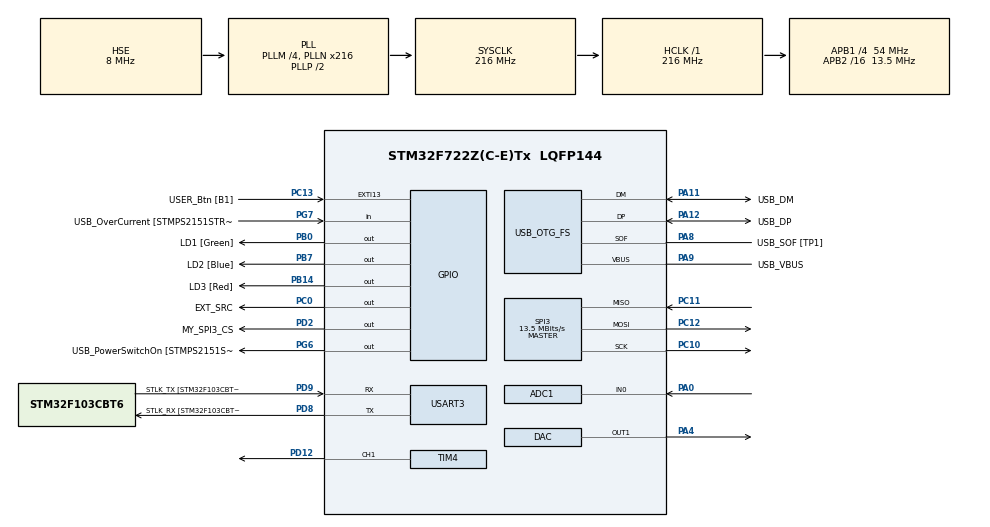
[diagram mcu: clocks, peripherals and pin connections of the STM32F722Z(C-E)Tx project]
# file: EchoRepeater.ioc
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ADC1.Channel-5\#ChannelRegularConversion=ADC_CHANNEL_0
ADC1.ClockPrescaler=ADC_CLOCK_SYNC_PCLK_DIV2
ADC1.ContinuousConvMode=DISABLE
ADC1.DMAContinuousRequests=ENABLE
ADC1.DataAlign=ADC_DATAALIGN_RIGHT
ADC1.DiscontinuousConvMode=DISABLE
ADC1.EOCSelection=ADC_EOC_SEQ_CONV
ADC1.ExternalTrigConv=ADC_EXTERNALTRIGCONV_T4_TRGO
ADC1.ExternalTrigConvEdge=ADC_EXTERNALTRIGCONVEDGE_RISING
ADC1.InjNumberOfConversion=0
ADC1.NbrOfConversion=1
ADC1.NbrOfConversionFlag=1
ADC1.Rank-5\#ChannelRegularConversion=1
ADC1.SamplingTime-5\#ChannelRegularConversion=ADC_SAMPLETIME_3CYCLES
ADC1.ScanConvMode=ADC_SCAN_DISABLE
ADC1.master=1
DAC.DAC_Trigger=DAC_TRIGGER_T4_TRGO
Dma.ADC1.0.Direction=DMA_PERIPH_TO_MEMORY
Dma.ADC1.0.FIFOMode=DMA_FIFOMODE_DISABLE
Dma.ADC1.0.Instance=DMA2_Stream0
Dma.ADC1.0.MemDataAlignment=DMA_MDATAALIGN_HALFWORD
Dma.ADC1.0.MemInc=DMA_MINC_ENABLE
Dma.ADC1.0.Mode=DMA_CIRCULAR
Dma.ADC1.0.PeriphDataAlignment=DMA_PDATAALIGN_HALFWORD
Dma.ADC1.0.PeriphInc=DMA_PINC_DISABLE
Dma.ADC1.0.Priority=DMA_PRIORITY_MEDIUM
Dma.DAC1.1.Direction=DMA_MEMORY_TO_PERIPH
Dma.DAC1.1.FIFOMode=DMA_FIFOMODE_DISABLE
Dma.DAC1.1.Instance=DMA1_Stream5
Dma.DAC1.1.MemDataAlignment=DMA_MDATAALIGN_HALFWORD
Dma.DAC1.1.MemInc=DMA_MINC_ENABLE
Dma.DAC1.1.Mode=DMA_CIRCULAR
Dma.DAC1.1.PeriphDataAlignment=DMA_PDATAALIGN_HALFWORD
Dma.DAC1.1.PeriphInc=DMA_PINC_DISABLE
Dma.DAC1.1.Priority=DMA_PRIORITY_MEDIUM
Dma.Request0=ADC1
Dma.Request1=DAC1
Mcu.Family=STM32F7
Mcu.Name=STM32F722Z(C-E)Tx
Mcu.Package=LQFP144
NVIC.DMA1_Stream5_IRQn=true\:2\:0\:true\:false\:true\:false\:true\:true
NVIC.DMA2_Stream0_IRQn=true\:1\:0\:true\:false\:true\:false\:true\:true
NVIC.PriorityGroup=NVIC_PRIORITYGROUP_4
NVIC.TIM4_IRQn=true\:0\:0\:false\:false\:true\:true\:true\:true
PA0-WKUP.Signal=ADCx_IN0
PA1.Signal=ADCx_IN1
PA10.GPIO_Label=USB_ID
PA10.Signal=USB_OTG_FS_ID
PA11.GPIO_Label=USB_DM
PA11.Mode=Device_Only
PA11.Signal=USB_OTG_FS_DM
PA12.GPIO_Label=USB_DP
PA12.Mode=Device_Only
PA12.Signal=USB_OTG_FS_DP
PA13.GPIO_Label=TMS
PA13.Mode=Serial_Wire
PA13.Signal=SYS_JTMS-SWDIO
PA14.GPIO_Label=TCK
PA14.Mode=Serial_Wire
PA14.Signal=SYS_JTCK-SWCLK
PA4.Signal=COMP_DAC1_group
PA5.Signal=COMP_DAC2_group
PA8.GPIO_Label=USB_SOF [TP1]
PA8.Mode=Activate_SOF_FS
PA8.Signal=USB_OTG_FS_SOF
PA9.GPIO_Label=USB_VBUS
PA9.Mode=Activate_VBUS
PA9.Signal=USB_OTG_FS_VBUS
PB0.GPIO_Label=LD1 [Green]
PB0.Signal=GPIO_Output
PB14.GPIO_Label=LD3 [Red]
PB14.Signal=GPIO_Output
PB3.GPIO_Label=SWO
PB3.Signal=SYS_JTDO-SWO
PB7.GPIO_Label=LD2 [Blue]
PB7.Signal=GPIO_Output
PC0.GPIO_Label=EXT_SRC
PC0.GPIO_Speed=GPIO_SPEED_FREQ_MEDIUM
PC0.Signal=GPIO_Output
PC10.GPIO_PuPd=GPIO_PULLUP
PC10.Mode=Full_Duplex_Master
PC10.Signal=SPI3_SCK
PC11.GPIO_PuPd=GPIO_PULLUP
PC11.Mode=Full_Duplex_Master
PC11.Signal=SPI3_MISO
PC12.GPIO_PuPd=GPIO_PULLUP
PC12.Mode=Full_Duplex_Master
PC12.Signal=SPI3_MOSI
PC13.GPIO_Label=USER_Btn [B1]
PC13.Signal=GPXTI13
PC14-OSC32_IN.Mode=LSE-External-Oscillator
PC14-OSC32_IN.Signal=RCC_OSC32_IN
PC15-OSC32_OUT.Mode=LSE-External-Oscillator
PC15-OSC32_OUT.Signal=RCC_OSC32_OUT
PD12.Signal=S_TIM4_CH1
PD2.GPIO_Label=MY_SPI3_CS
PD2.GPIO_PuPd=GPIO_PULLUP
PD2.GPIO_Speed=GPIO_SPEED_FREQ_HIGH
PD2.PinState=GPIO_PIN_SET
PD2.Signal=GPIO_Output
PD8.GPIO_Label=STLK_RX [STM32F103CBT6_PA3]
PD8.Mode=Asynchronous
PD8.Signal=USART3_TX
PD9.GPIO_Label=STLK_TX [STM32F103CBT6_PA2]
PD9.Mode=Asynchronous
PD9.Signal=USART3_RX
PG6.GPIO_Label=USB_PowerSwitchOn [STMPS2151STR_EN]
PG6.Signal=GPIO_Output
PG7.GPIO_Label=USB_OverCurrent [STMPS2151STR_FAULT]
PG7.Signal=GPIO_Input
PH0-OSC_IN.GPIO_Label=MCO
PH0-OSC_IN.Mode=HSE-External-Clock-Source
PH0-OSC_IN.Signal=RCC_OSC_IN
PH1-OSC_OUT.Mode=HSE-External-Clock-Source
PH1-OSC_OUT.Signal=RCC_OSC_OUT
ProjectManager.HeapSize=0x200
ProjectManager.StackSize=0x400
ProjectManager.TargetToolchain=STM32CubeIDE
RCC.48MHZClocksFreq_Value=24000000
RCC.AHBFreq_Value=216000000
RCC.APB1CLKDivider=RCC_HCLK_DIV4
RCC.APB1Freq_Value=54000000
RCC.APB1TimFreq_Value=108000000
RCC.APB2CLKDivider=RCC_HCLK_DIV16
RCC.APB2Freq_Value=13500000
RCC.APB2TimFreq_Value=27000000
RCC.CortexFreq_Value=216000000
RCC.HCLKFreq_Value=216000000
RCC.HSE_VALUE=8000000
RCC.HSI_VALUE=16000000
RCC.PLLM=4
RCC.PLLMUL=RCC_PLL_MUL9
RCC.PLLN=216
RCC.PLLQ=9
RCC.PRESCALERUSB=RCC_USBCLKSOURCE_PLL_DIV1_5
RCC.SYSCLKFreq_VALUE=216000000
RCC.SYSCLKSource=RCC_SYSCLKSOURCE_PLLCLK
RCC.SYSCLKSourceVirtual=RCC_SYSCLKSOURCE_PLLCLK
RCC.USBFreq_Value=48000000
RCC.VCOOutputFreq_Value=432000000
SH.ADCx_IN0.0=ADC3_IN0
SH.ADCx_IN0.1=ADC1_IN0,IN0
SH.ADCx_IN1.0=ADC3_IN1
SH.ADCx_IN1.1=ADC2_IN1
SH.ADCx_IN1.2=ADC1_IN1
SH.COMP_DAC1_group.0=DAC_OUT1,DAC_OUT1
SH.COMP_DAC2_group.0=DAC_OUT2
SH.S_TIM4_CH1.0=TIM4_CH1,Output Compare1 CH1
SPI3.BaudRatePrescaler=SPI_BAUDRATEPRESCALER_4
SPI3.CalculateBaudRate=13.5 MBits/s
SPI3.DataSize=SPI_DATASIZE_8BIT
SPI3.Direction=SPI_DIRECTION_2LINES
SPI3.Mode=SPI_MODE_MASTER
SPI3.VirtualType=VM_MASTER
TIM4.AutoReloadPreload=TIM_AUTORELOAD_PRELOAD_DISABLE
TIM4.Channel-Output\ Compare1\ CH1=TIM_CHANNEL_1
TIM4.ClockDivision=TIM_CLOCKDIVISION_DIV1
TIM4.OCMode_1=TIM_OCMODE_TOGGLE
TIM4.Period=1080*2-1
TIM4.TIM_MasterOutputTrigger=TIM_TRGO_UPDATE
USART3.VirtualMode-Asynchronous=VM_ASYNC
USB_OTG_FS.VirtualMode=Device_Only
VP_TIM4_VS_ClockSourceINT.Mode=Internal
board=NUCLEO-F722ZE

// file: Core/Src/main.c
/* USER CODE BEGIN Header */
/**
 ******************************************************************************
 * @file           : main.c
 * @brief          : Main program body
 ******************************************************************************
 * @attention
 *
 * Copyright (c) 2022 STMicroelectronics.
 * All rights reserved.
 *
 * This software is licensed under terms that can be found in the LICENSE file
 * in the root directory of this software component.
 * If no LICENSE file comes with this software, it is provided AS-IS.
 *
 ******************************************************************************
 */

// Flash uses SPI3 - PC10=SCK, PC11=MISO, PC12=MOSI, PD2=CS
// ADC uses PA0 with DMA, toggles PB0 Green LED
// DAC uses PA4 with DMA, toggles PB7 Blue LED
// Sample Timer triggers PD12
// Process loop toggles RED LED on PB14
// EXT_SRC_Pin uses PC0

/* USER CODE END Header */
#include "main.h"

/* USER CODE BEGIN Includes */
#include "arm_math.h"
#include "string.h"
#include "stdbool.h"
//#include "IIR_LowPass.h"
//#include "IIR_HighPass.h"
//#include "IIR_Peak.h"
#include "Delay.h"
//#include "TappedDelay.h"
#include "FbComb.h"
//#include "AllpassPhaser.h"
#include "arm_IIR_AllpassPhaser.h"
#include "lp1_coeffs.h"
#include "arm_IIR_LP.h"

/* USER CODE END Includes */

/* USER CODE BEGIN PD */
#define ADC_BUF_LEN 64
#define BLOCK_SIZE ADC_BUF_LEN/2
/* USER CODE END PD */

ADC_HandleTypeDef hadc1;
DMA_HandleTypeDef hdma_adc1;

DAC_HandleTypeDef hdac;
DMA_HandleTypeDef hdma_dac1;

SPI_HandleTypeDef hspi3;

TIM_HandleTypeDef htim4;

UART_HandleTypeDef huart3;

PCD_HandleTypeDef hpcd_USB_OTG_FS;

/* USER CODE BEGIN PV */

//uint16_t dmaBuffer[ADC_BUF_LEN];
//uint16_t dacBuffer[ADC_BUF_LEN];
q15_t dmaBuffer[ADC_BUF_LEN];
q15_t dacBuffer[ADC_BUF_LEN];
float32_t dsp_buffer[ADC_BUF_LEN];

q15_t tmpdsp_buffer[BLOCK_SIZE];
q15_t tmpdsp_buffer2[BLOCK_SIZE];
float32_t ftmpdsp_buffer[BLOCK_SIZE];
float32_t out_buffer[BLOCK_SIZE];

float32_t fdata_log;
q15_t q15data_log;
//float delay_buffer[ADC_BUF_LEN];

uint32_t count = 0;

uint16_t ready_1 = false;
uint16_t ready_2 = false;

//IIR_LPF lowpass_filt1;
//IIR_LPF lowpass_filt2;
//IIR_HPF highpass_filt1;
//IIR_HPF highpass_filt2;
//IIR_Peak peak_filt1;
//IIR_Peak peak_filt2;
//fDelay_TypeDef delay1;
//fTappedDelay_TypeDef tapped_delay1;
//fFbComb_TypeDef fb_comb1;
//AllpassPhaser_t phaser;

ArmAllpassPhaser_t arm_phaser;
float32_t dsp_buffer_dry[BLOCK_SIZE];

ArmIIR_LPF_t arm_lpf;

/* USER CODE END PV */

void SystemClock_Config(void);
static void MX_GPIO_Init(void);
static void MX_DMA_Init(void);
static void MX_USB_OTG_FS_PCD_Init(void);
static void MX_ADC1_Init(void);
static void MX_USART3_UART_Init(void);
static void MX_DAC_Init(void);
static void MX_TIM4_Init(void);
static void MX_SPI3_Init(void);

int main(void)
{

  /* MCU Configuration--------------------------------------------------------*/

  /* Reset of all peripherals, Initializes the Flash interface and the Systick. */
  HAL_Init();

  /* Configure the system clock */
  SystemClock_Config();

  /* USER CODE BEGIN SysInit */

  // NOTE: Ensure MX_DMA_Init() is called after MX_GPIO_Init()

  /* USER CODE END SysInit */

  /* Initialize all configured peripherals */
  MX_GPIO_Init();
  MX_DMA_Init();
  MX_USB_OTG_FS_PCD_Init();
  MX_ADC1_Init();
  MX_USART3_UART_Init();
  MX_DAC_Init();
  MX_TIM4_Init();
  MX_SPI3_Init();
  /* USER CODE BEGIN 2 */

/***
 * Make sure MX_DMA_Init(); is 2nd in the list above
 *
 */

    HAL_GPIO_WritePin(GPIOB, LD1_Pin, GPIO_PIN_RESET);
    HAL_GPIO_WritePin(GPIOB, LD2_Pin, GPIO_PIN_RESET);
    HAL_GPIO_WritePin(GPIOB, LD3_Pin, GPIO_PIN_RESET);
    HAL_GPIO_WritePin(EXT_SRC_GPIO_Port, EXT_SRC_Pin, GPIO_PIN_RESET);

    // start base timer, start compare function
    HAL_TIM_Base_Start_IT(&htim4);
    HAL_TIM_OC_Start(&htim4, TIM_CHANNEL_1); // optional - debug line on timer output compare pin
    //  HAL_TIM_Base_Start(&htim6);

    // initiate ADC transfer to DMA, clocked by compare register
    HAL_ADC_Start_DMA(&hadc1, (uint32_t*) dmaBuffer, ADC_BUF_LEN);
    // configure 12-bit right-align mode for DAC
    HAL_DAC_Start_DMA(&hdac, DAC_CHANNEL_1, (uint32_t*) dacBuffer, ADC_BUF_LEN, DAC_ALIGN_12B_R);

//    IIR_LPF_Init(&lowpass_filt1, 0.2);
//    IIR_LPF_Init(&lowpass_filt2, 0.2);
//
//    IIR_HPF_Init(&highpass_filt1, 0.5);
//    IIR_HPF_Init(&highpass_filt2, 0.5);
//
//    IIR_Peak_Init(&peak_filt1, 0.125, 0.05);
//    IIR_Peak_Init(&peak_filt2, 0.125, 0.05);
//
//    FbComb_Init(&fb_comb1, (uint32_t)(50000*0.025), 0.45, 0.75);

//    uint32_t delay_len_adj = 0;
//    int32_t delay_adj_val = 2;

//    AllpassPhaser_Init(&phaser, 2, 0.99);
//    phaser.N = 25000/8;

//    float a2d_d2a_shift[BLOCK_SIZE];
//    arm_fill_f32(2048.0 / 32768.0, a2d_d2a_shift, BLOCK_SIZE);

//    Delay_Init(&delay1, (uint32_t)(25000));

    float f_depth = 0.90; // range from 0.25 to 1.0
    float f_period_s = 0.125; // range from 0.1 to T1
    float f_width_Hz = 20000 / 5;
    float f_sample_rate_Hz = 50000;
    ArmAllpassPhaser_Init(&arm_phaser,
						f_depth,
						f_period_s,
						f_width_Hz,
						f_sample_rate_Hz,
						BLOCK_SIZE);

	int buf_offset = 0;

	// Threshold detection and Echo
//	float32_t max_val = 0;
//	uint32_t max_index = 0;
//	float32_t max_threshold = 0.1;

	/* Call FIR init function to initialize the instance structure.
	 * https://arm-software.github.io/CMSIS_5/DSP/html/arm_fir_example_f32_8c-example.html
	 * */
	arm_fir_instance_f32 Flt1;
#if defined(ARM_MATH_MVEF) && !defined(ARM_MATH_AUTOVECTORIZE)
	static float32_t firStateF32[2 * BLOCK_SIZE + NUM_TAPS - 1];
#else
	static float32_t firStateF32[BLOCK_SIZE + FLT1_NUM_TAPS - 1];
#endif
	arm_fir_init_f32(&Flt1, FLT1_NUM_TAPS, (float32_t *)&flt1_coeffs[0], &firStateF32[0], BLOCK_SIZE);

	ArmIIR_LPF_Init(&arm_lpf);

  /* USER CODE END 2 */

  /* Infinite loop */
  /* USER CODE BEGIN WHILE */

	typedef enum STATE_E {
		STAGE_1 = 1,
		STAGE_2 = 2,
		STAGE_3 = 3,
		STAGE_4 = 4
	} STATE_E;

	STATE_E state_e = STAGE_1;

    while (1)
    {
    /* USER CODE END WHILE */

    /* USER CODE BEGIN 3 */

    	if (ready_1 || ready_2)
    	{
			if (ready_1)
			{
				buf_offset = 0;
			}
			else if (ready_2)
			{
				buf_offset = BLOCK_SIZE;
			}

			HAL_GPIO_WritePin(GPIOB, LD3_Pin, GPIO_PIN_SET);

			arm_shift_q15(dmaBuffer+buf_offset, 3, tmpdsp_buffer, BLOCK_SIZE);
			arm_q15_to_float(tmpdsp_buffer, dsp_buffer+buf_offset, BLOCK_SIZE);
			arm_offset_f32(dsp_buffer+buf_offset, -0.5, ftmpdsp_buffer, BLOCK_SIZE);
			arm_negate_f32(ftmpdsp_buffer, dsp_buffer+buf_offset, BLOCK_SIZE);

//			// Power threshold check
//			if (state_e == STAGE_1)
//			{
//				arm_abs_f32(dsp_buffer+buf_offset, ftmpdsp_buffer, BLOCK_SIZE);
//				arm_max_f32(ftmpdsp_buffer, BLOCK_SIZE, &max_val, &max_index);
//				if (max_val >= max_threshold)
//				{
//					HAL_GPIO_WritePin(EXT_SRC_GPIO_Port, EXT_SRC_Pin, GPIO_PIN_SET); // indicate start of output
//					state_e = STAGE_2;
//				}
//				max_val = 0;
//			}
//			if (state_e == STAGE_2)
//			{
//				for (size_t n = buf_offset+max_index; n < buf_offset+BLOCK_SIZE; n++)
//				{
//					Delay_Step(&delay1, dsp_buffer[n]);
//					// Fill the buffer
//					if (delay1.position == 0)
//					{
//						HAL_GPIO_WritePin(EXT_SRC_GPIO_Port, EXT_SRC_Pin, 0); // indicate start of output
//						state_e = STAGE_3;
//						break;
//					}
//				}
//				max_index = 0;
//			}
//
//
//			// BEGIN Signal Processing
////			if (false)
////			{
////				ArmAllpassPhaser_StepBlock(&arm_phaser, dsp_buffer+buf_offset, dsp_buffer_dry, dsp_buffer+buf_offset, BLOCK_SIZE);
////
////				for (size_t n = buf_offset; n < buf_offset+BLOCK_SIZE; n++)
////				{
////					dsp_buffer[n] = FbComb_Step(&fb_comb1, dsp_buffer[n]);
////		//            	dsp_buffer[n] = Delay_Step(&delay1, dsp_buffer[n]);
////		//            	data_log = dsp_buffer[n];
////				}
////			}
//
//			// END Signal Processing
//
//
//			if (state_e == STAGE_3)
//			{
//				size_t k=0;
//				for (size_t n = buf_offset; n < buf_offset+BLOCK_SIZE; n++)
//				{
//					out_buffer[k++] = Delay_Step(&delay1, 0.0);
//					// Fill the buffer
//					if (delay1.position == 0)
//					{
//						state_e = STAGE_4;
//						break;
//					}
//				}
//			}

			// Pipe input straight to output
			size_t k=0;
			HAL_GPIO_WritePin(EXT_SRC_GPIO_Port, EXT_SRC_Pin, GPIO_PIN_SET); // indicate start of output
			for (size_t n = buf_offset; n < buf_offset+BLOCK_SIZE; n++)
			{
				out_buffer[k++] = dsp_buffer[n];
			}
			HAL_GPIO_WritePin(EXT_SRC_GPIO_Port, EXT_SRC_Pin, 0); // indicate end of output

//			arm_fir_f32(&Flt1, out_buffer, ftmpdsp_buffer, BLOCK_SIZE);

			ArmIIR_LPF_StepBlock(&arm_lpf, out_buffer, ftmpdsp_buffer, BLOCK_SIZE);

			arm_scale_f32(ftmpdsp_buffer, 2.0, dsp_buffer+buf_offset, BLOCK_SIZE);		// range is now from [-1.0, 1.0]
			//arm_scale_f32(dsp_buffer+buf_offset, 2.0, dsp_buffer+buf_offset, BLOCK_SIZE);		// range is now from [-1.0, 1.0]
			arm_float_to_q15(dsp_buffer+buf_offset, tmpdsp_buffer, BLOCK_SIZE);	// Write as right-aligned, range is now from [-32768.0, 32768.0]
			arm_scale_q15(tmpdsp_buffer, (q15_t)1, 11, tmpdsp_buffer2, BLOCK_SIZE);		// range is now from [-4096.0, 4096.0]/2
			arm_offset_q15(tmpdsp_buffer2, 2048, dacBuffer+buf_offset, BLOCK_SIZE); // range is now 12-bits, from [0.0, 4096.0]

			if (state_e == STAGE_4)
			{
//				arm_fill_f32(0.0, out_buffer, BLOCK_SIZE);
				state_e = STAGE_1;
			}

			HAL_GPIO_WritePin(GPIOB, LD3_Pin, GPIO_PIN_RESET);

			ready_1 ^= ready_1;
			ready_2 ^= ready_2;
    	}

    }

  /* USER CODE END 3 */
}

void SystemClock_Config(void)
{
  RCC_OscInitTypeDef RCC_OscInitStruct = {0};
  RCC_ClkInitTypeDef RCC_ClkInitStruct = {0};

  /** Configure LSE Drive Capability
  */
  HAL_PWR_EnableBkUpAccess();

  /** Configure the main internal regulator output voltage
  */
  __HAL_RCC_PWR_CLK_ENABLE();
  __HAL_PWR_VOLTAGESCALING_CONFIG(PWR_REGULATOR_VOLTAGE_SCALE1);

  /** Initializes the RCC Oscillators according to the specified parameters
  * in the RCC_OscInitTypeDef structure.
  */
  RCC_OscInitStruct.OscillatorType = RCC_OSCILLATORTYPE_HSE;
  RCC_OscInitStruct.HSEState = RCC_HSE_BYPASS;
  RCC_OscInitStruct.PLL.PLLState = RCC_PLL_ON;
  RCC_OscInitStruct.PLL.PLLSource = RCC_PLLSOURCE_HSE;
  RCC_OscInitStruct.PLL.PLLM = 4;
  RCC_OscInitStruct.PLL.PLLN = 216;
  RCC_OscInitStruct.PLL.PLLP = RCC_PLLP_DIV2;
  RCC_OscInitStruct.PLL.PLLQ = 9;
  if (HAL_RCC_OscConfig(&RCC_OscInitStruct) != HAL_OK)
  {
    Error_Handler();
  }

  /** Activate the Over-Drive mode
  */
  if (HAL_PWREx_EnableOverDrive() != HAL_OK)
  {
    Error_Handler();
  }

  /** Initializes the CPU, AHB and APB buses clocks
  */
  RCC_ClkInitStruct.ClockType = RCC_CLOCKTYPE_HCLK|RCC_CLOCKTYPE_SYSCLK
                              |RCC_CLOCKTYPE_PCLK1|RCC_CLOCKTYPE_PCLK2;
  RCC_ClkInitStruct.SYSCLKSource = RCC_SYSCLKSOURCE_PLLCLK;
  RCC_ClkInitStruct.AHBCLKDivider = RCC_SYSCLK_DIV1;
  RCC_ClkInitStruct.APB1CLKDivider = RCC_HCLK_DIV4;
  RCC_ClkInitStruct.APB2CLKDivider = RCC_HCLK_DIV16;

  if (HAL_RCC_ClockConfig(&RCC_ClkInitStruct, FLASH_LATENCY_7) != HAL_OK)
  {
    Error_Handler();
  }
}

static void MX_ADC1_Init(void)
{

  ADC_ChannelConfTypeDef sConfig = {0};

  /** Configure the global features of the ADC (Clock, Resolution, Data Alignment and number of conversion)
  */
  hadc1.Instance = ADC1;
  hadc1.Init.ClockPrescaler = ADC_CLOCK_SYNC_PCLK_DIV2;
  hadc1.Init.Resolution = ADC_RESOLUTION_12B;
  hadc1.Init.ScanConvMode = ADC_SCAN_DISABLE;
  hadc1.Init.ContinuousConvMode = DISABLE;
  hadc1.Init.DiscontinuousConvMode = DISABLE;
  hadc1.Init.ExternalTrigConvEdge = ADC_EXTERNALTRIGCONVEDGE_RISING;
  hadc1.Init.ExternalTrigConv = ADC_EXTERNALTRIGCONV_T4_TRGO;
  hadc1.Init.DataAlign = ADC_DATAALIGN_RIGHT;
  hadc1.Init.NbrOfConversion = 1;
  hadc1.Init.DMAContinuousRequests = ENABLE;
  hadc1.Init.EOCSelection = ADC_EOC_SEQ_CONV;
  if (HAL_ADC_Init(&hadc1) != HAL_OK)
  {
    Error_Handler();
  }

  /** Configure for the selected ADC regular channel its corresponding rank in the sequencer and its sample time.
  */
  sConfig.Channel = ADC_CHANNEL_0;
  sConfig.Rank = ADC_REGULAR_RANK_1;
  sConfig.SamplingTime = ADC_SAMPLETIME_3CYCLES;
  if (HAL_ADC_ConfigChannel(&hadc1, &sConfig) != HAL_OK)
  {
    Error_Handler();
  }

}

static void MX_DAC_Init(void)
{

  DAC_ChannelConfTypeDef sConfig = {0};

  /** DAC Initialization
  */
  hdac.Instance = DAC;
  if (HAL_DAC_Init(&hdac) != HAL_OK)
  {
    Error_Handler();
  }

  /** DAC channel OUT1 config
  */
  sConfig.DAC_Trigger = DAC_TRIGGER_T4_TRGO;
  sConfig.DAC_OutputBuffer = DAC_OUTPUTBUFFER_ENABLE;
  if (HAL_DAC_ConfigChannel(&hdac, &sConfig, DAC_CHANNEL_1) != HAL_OK)
  {
    Error_Handler();
  }

}

static void MX_SPI3_Init(void)
{

  /* SPI3 parameter configuration*/
  hspi3.Instance = SPI3;
  hspi3.Init.Mode = SPI_MODE_MASTER;
  hspi3.Init.Direction = SPI_DIRECTION_2LINES;
  hspi3.Init.DataSize = SPI_DATASIZE_8BIT;
  hspi3.Init.CLKPolarity = SPI_POLARITY_LOW;
  hspi3.Init.CLKPhase = SPI_PHASE_1EDGE;
  hspi3.Init.NSS = SPI_NSS_SOFT;
  hspi3.Init.BaudRatePrescaler = SPI_BAUDRATEPRESCALER_4;
  hspi3.Init.FirstBit = SPI_FIRSTBIT_MSB;
  hspi3.Init.TIMode = SPI_TIMODE_DISABLE;
  hspi3.Init.CRCCalculation = SPI_CRCCALCULATION_DISABLE;
  hspi3.Init.CRCPolynomial = 7;
  hspi3.Init.CRCLength = SPI_CRC_LENGTH_DATASIZE;
  hspi3.Init.NSSPMode = SPI_NSS_PULSE_ENABLE;
  if (HAL_SPI_Init(&hspi3) != HAL_OK)
  {
    Error_Handler();
  }
  /* USER CODE BEGIN SPI3_Init 2 */
    // Configure GPIOC pins : MISO, MOSI, CLK
  GPIO_InitTypeDef  GPIO_InitStruct;
  GPIO_InitStruct.Pin = GPIO_PIN_10 | GPIO_PIN_11 | GPIO_PIN_12;
  GPIO_InitStruct.Mode = GPIO_MODE_AF_PP;
  GPIO_InitStruct.Pull = GPIO_PULLUP;
  GPIO_InitStruct.Speed = GPIO_SPEED_FREQ_VERY_HIGH;
  GPIO_InitStruct.Alternate = GPIO_AF6_SPI3;
  HAL_GPIO_Init(GPIOC, &GPIO_InitStruct);

  /* USER CODE END SPI3_Init 2 */

}

static void MX_TIM4_Init(void)
{

  TIM_ClockConfigTypeDef sClockSourceConfig = {0};
  TIM_MasterConfigTypeDef sMasterConfig = {0};
  TIM_OC_InitTypeDef sConfigOC = {0};

  htim4.Instance = TIM4;
  htim4.Init.Prescaler = 0;
  htim4.Init.CounterMode = TIM_COUNTERMODE_UP;
  htim4.Init.Period = 1080*2-1;
  htim4.Init.ClockDivision = TIM_CLOCKDIVISION_DIV1;
  htim4.Init.AutoReloadPreload = TIM_AUTORELOAD_PRELOAD_DISABLE;
  if (HAL_TIM_Base_Init(&htim4) != HAL_OK)
  {
    Error_Handler();
  }
  sClockSourceConfig.ClockSource = TIM_CLOCKSOURCE_INTERNAL;
  if (HAL_TIM_ConfigClockSource(&htim4, &sClockSourceConfig) != HAL_OK)
  {
    Error_Handler();
  }
  if (HAL_TIM_OC_Init(&htim4) != HAL_OK)
  {
    Error_Handler();
  }
  sMasterConfig.MasterOutputTrigger = TIM_TRGO_UPDATE;
  sMasterConfig.MasterSlaveMode = TIM_MASTERSLAVEMODE_DISABLE;
  if (HAL_TIMEx_MasterConfigSynchronization(&htim4, &sMasterConfig) != HAL_OK)
  {
    Error_Handler();
  }
  sConfigOC.OCMode = TIM_OCMODE_TOGGLE;
  sConfigOC.Pulse = 0;
  sConfigOC.OCPolarity = TIM_OCPOLARITY_HIGH;
  sConfigOC.OCFastMode = TIM_OCFAST_DISABLE;
  if (HAL_TIM_OC_ConfigChannel(&htim4, &sConfigOC, TIM_CHANNEL_1) != HAL_OK)
  {
    Error_Handler();
  }
  HAL_TIM_MspPostInit(&htim4);

}

static void MX_USART3_UART_Init(void)
{

  huart3.Instance = USART3;
  huart3.Init.BaudRate = 115200;
  huart3.Init.WordLength = UART_WORDLENGTH_8B;
  huart3.Init.StopBits = UART_STOPBITS_1;
  huart3.Init.Parity = UART_PARITY_NONE;
  huart3.Init.Mode = UART_MODE_TX_RX;
  huart3.Init.HwFlowCtl = UART_HWCONTROL_NONE;
  huart3.Init.OverSampling = UART_OVERSAMPLING_16;
  huart3.Init.OneBitSampling = UART_ONE_BIT_SAMPLE_DISABLE;
  huart3.AdvancedInit.AdvFeatureInit = UART_ADVFEATURE_NO_INIT;
  if (HAL_UART_Init(&huart3) != HAL_OK)
  {
    Error_Handler();
  }

}

static void MX_USB_OTG_FS_PCD_Init(void)
{

  hpcd_USB_OTG_FS.Instance = USB_OTG_FS;
  hpcd_USB_OTG_FS.Init.dev_endpoints = 6;
  hpcd_USB_OTG_FS.Init.dma_enable = DISABLE;
  hpcd_USB_OTG_FS.Init.phy_itface = PCD_PHY_EMBEDDED;
  hpcd_USB_OTG_FS.Init.Sof_enable = ENABLE;
  hpcd_USB_OTG_FS.Init.low_power_enable = DISABLE;
  hpcd_USB_OTG_FS.Init.lpm_enable = DISABLE;
  hpcd_USB_OTG_FS.Init.battery_charging_enable = ENABLE;
  hpcd_USB_OTG_FS.Init.vbus_sensing_enable = ENABLE;
  hpcd_USB_OTG_FS.Init.use_dedicated_ep1 = DISABLE;
  if (HAL_PCD_Init(&hpcd_USB_OTG_FS) != HAL_OK)
  {
    Error_Handler();
  }

}

static void MX_DMA_Init(void)
{

  /* DMA controller clock enable */
  __HAL_RCC_DMA2_CLK_ENABLE();
  __HAL_RCC_DMA1_CLK_ENABLE();

  /* DMA interrupt init */
  /* DMA1_Stream5_IRQn interrupt configuration */
  HAL_NVIC_SetPriority(DMA1_Stream5_IRQn, 2, 0);
  HAL_NVIC_EnableIRQ(DMA1_Stream5_IRQn);
  /* DMA2_Stream0_IRQn interrupt configuration */
  HAL_NVIC_SetPriority(DMA2_Stream0_IRQn, 1, 0);
  HAL_NVIC_EnableIRQ(DMA2_Stream0_IRQn);

}

static void MX_GPIO_Init(void)
{
  GPIO_InitTypeDef GPIO_InitStruct = {0};

  /* GPIO Ports Clock Enable */
  __HAL_RCC_GPIOC_CLK_ENABLE();
  __HAL_RCC_GPIOH_CLK_ENABLE();
  __HAL_RCC_GPIOA_CLK_ENABLE();
  __HAL_RCC_GPIOB_CLK_ENABLE();
  __HAL_RCC_GPIOD_CLK_ENABLE();
  __HAL_RCC_GPIOG_CLK_ENABLE();

  /*Configure GPIO pin Output Level */
  HAL_GPIO_WritePin(EXT_SRC_GPIO_Port, EXT_SRC_Pin, GPIO_PIN_RESET);

  /*Configure GPIO pin Output Level */
  HAL_GPIO_WritePin(GPIOB, LD1_Pin|LD3_Pin|LD2_Pin, GPIO_PIN_RESET);

  /*Configure GPIO pin Output Level */
  HAL_GPIO_WritePin(USB_PowerSwitchOn_GPIO_Port, USB_PowerSwitchOn_Pin, GPIO_PIN_RESET);

  /*Configure GPIO pin Output Level */
  HAL_GPIO_WritePin(MY_SPI3_CS_GPIO_Port, MY_SPI3_CS_Pin, GPIO_PIN_SET);

  /*Configure GPIO pin : USER_Btn_Pin */
  GPIO_InitStruct.Pin = USER_Btn_Pin;
  GPIO_InitStruct.Mode = GPIO_MODE_IT_RISING;
  GPIO_InitStruct.Pull = GPIO_NOPULL;
  HAL_GPIO_Init(USER_Btn_GPIO_Port, &GPIO_InitStruct);

  /*Configure GPIO pin : EXT_SRC_Pin */
  GPIO_InitStruct.Pin = EXT_SRC_Pin;
  GPIO_InitStruct.Mode = GPIO_MODE_OUTPUT_PP;
  GPIO_InitStruct.Pull = GPIO_NOPULL;
  GPIO_InitStruct.Speed = GPIO_SPEED_FREQ_MEDIUM;
  HAL_GPIO_Init(EXT_SRC_GPIO_Port, &GPIO_InitStruct);

  /*Configure GPIO pins : PA0 PA1 */
  GPIO_InitStruct.Pin = GPIO_PIN_0|GPIO_PIN_1;
  GPIO_InitStruct.Mode = GPIO_MODE_ANALOG;
  GPIO_InitStruct.Pull = GPIO_NOPULL;
  HAL_GPIO_Init(GPIOA, &GPIO_InitStruct);

  /*Configure GPIO pins : LD1_Pin LD3_Pin LD2_Pin */
  GPIO_InitStruct.Pin = LD1_Pin|LD3_Pin|LD2_Pin;
  GPIO_InitStruct.Mode = GPIO_MODE_OUTPUT_PP;
  GPIO_InitStruct.Pull = GPIO_NOPULL;
  GPIO_InitStruct.Speed = GPIO_SPEED_FREQ_LOW;
  HAL_GPIO_Init(GPIOB, &GPIO_InitStruct);

  /*Configure GPIO pin : USB_PowerSwitchOn_Pin */
  GPIO_InitStruct.Pin = USB_PowerSwitchOn_Pin;
  GPIO_InitStruct.Mode = GPIO_MODE_OUTPUT_PP;
  GPIO_InitStruct.Pull = GPIO_NOPULL;
  GPIO_InitStruct.Speed = GPIO_SPEED_FREQ_LOW;
  HAL_GPIO_Init(USB_PowerSwitchOn_GPIO_Port, &GPIO_InitStruct);

  /*Configure GPIO pin : USB_OverCurrent_Pin */
  GPIO_InitStruct.Pin = USB_OverCurrent_Pin;
  GPIO_InitStruct.Mode = GPIO_MODE_INPUT;
  GPIO_InitStruct.Pull = GPIO_NOPULL;
  HAL_GPIO_Init(USB_OverCurrent_GPIO_Port, &GPIO_InitStruct);

  /*Configure GPIO pin : MY_SPI3_CS_Pin */
  GPIO_InitStruct.Pin = MY_SPI3_CS_Pin;
  GPIO_InitStruct.Mode = GPIO_MODE_OUTPUT_PP;
  GPIO_InitStruct.Pull = GPIO_PULLUP;
  GPIO_InitStruct.Speed = GPIO_SPEED_FREQ_HIGH;
  HAL_GPIO_Init(MY_SPI3_CS_GPIO_Port, &GPIO_InitStruct);

}

/* USER CODE BEGIN 4 */

void HAL_TIM_PeriodElapsedCallback(TIM_HandleTypeDef *htim)
{
    if (htim == &htim4)
    {
//        HAL_GPIO_TogglePin(GPIOB, LD1_Pin);
        // kick off another one
        //HAL_ADC_Start_DMA(&hadc1, (uint32_t *)dmaBuffer, ADC_BUF_LEN);
    }
}

void HAL_ADC_ConvHalfCpltCallback(ADC_HandleTypeDef *hadc)
{
    ready_1 = 1;
    HAL_GPIO_WritePin(GPIOB, LD1_Pin, GPIO_PIN_SET);
}

void HAL_ADC_ConvCpltCallback(ADC_HandleTypeDef *hadc)
{
    ready_2 = 1;
    HAL_GPIO_WritePin(GPIOB, LD1_Pin, GPIO_PIN_RESET);
}

void HAL_DAC_ConvHalfCpltCallbackCh1(DAC_HandleTypeDef *_hdac)
{
    HAL_GPIO_WritePin(GPIOB, LD2_Pin, GPIO_PIN_SET);
}

void HAL_DAC_ConvCpltCallbackCh1(DAC_HandleTypeDef *_hdac)
{
    HAL_GPIO_WritePin(GPIOB, LD2_Pin, GPIO_PIN_RESET);
}

/* USER CODE END 4 */

void Error_Handler(void)
{
    __disable_irq();
    while (1)
    {
    }
}
